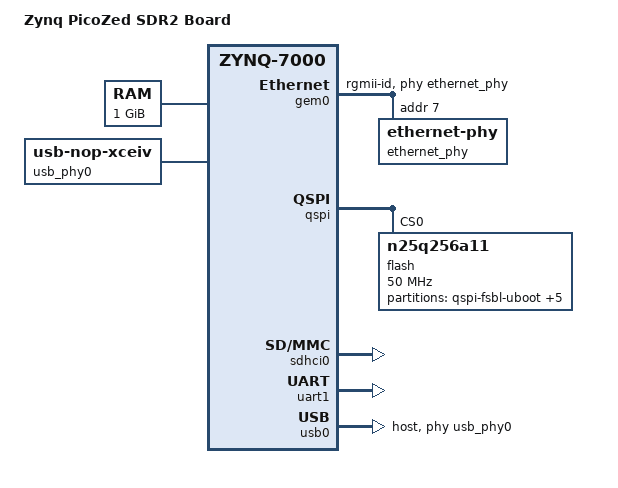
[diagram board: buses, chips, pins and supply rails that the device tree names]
/*
 * Avnet PicoZED SDR2 board DTS
 *
 * Copyright (C) 2015 Analog Devices Inc.
 *
 * SPDX-License-Identifier:	GPL-2.0+
 */
/dts-v1/;
#include "zynq-7000.dtsi"

/ {
	model = "Zynq PicoZed SDR2 Board";
	compatible = "xlnx,zynq-picozed-sdr2", "xlnx,zynq-7000";

	aliases {
		ethernet0 = &gem0;
		serial0 = &uart1;
		spi0 = &qspi;
	};

	memory {
		device_type = "memory";
		reg = <0x0 0x40000000>;
	};

	chosen {
		bootargs = "earlyprintk";
		linux,stdout-path = &uart1;
		stdout-path = &uart1;
	};

	usb_phy0: phy0 {
		compatible = "usb-nop-xceiv";
		#phy-cells = <0>;
	};
};

&gem0 {
	status = "okay";
	phy-mode = "rgmii-id";
	phy-handle = <&ethernet_phy>;

	ethernet_phy: ethernet-phy@7 {
		reg = <7>;
	};
};

&qspi {
	status = "okay";
	is-dual = <0>;
	num-cs = <1>;
	flash@0 {
		compatible = "n25q256a11,";
		reg = <0x0>;
		spi-tx-bus-width = <1>;
		spi-rx-bus-width = <4>;
		spi-max-frequency = <50000000>;
		#address-cells = <1>;
		#size-cells = <1>;
		partition@qspi-fsbl-uboot {
			label = "qspi-fsbl-uboot";
			reg = <0x0 0xE0000>; /* 896k */
		};
		partition@qspi-uboot-env {
			label = "qspi-uboot-env";
			reg = <0xE0000 0x20000>; /* 128k */
		};
		partition@qspi-linux {
			label = "qspi-linux";
			reg = <0x100000 0x500000>; /* 5M */
		};
		partition@qspi-device-tree {
			label = "qspi-device-tree";
			reg = <0x600000 0x20000>; /* 128k */
		};
		partition@qspi-rootfs {
			label = "qspi-rootfs";
			reg = <0x620000 0xCE0000>; /* 12875k */
		};
		partition@qspi-bitstream {
			label = "qspi-bitstream";
			reg = <0x1300000 0xD00000>; /* 13 M */
		};
	};
};

&sdhci0 {
	status = "okay";
};

&uart1 {
	status = "okay";
};

&usb0 {
	status = "okay";
	dr_mode = "host";
	usb-phy = <&usb_phy0>;
};
